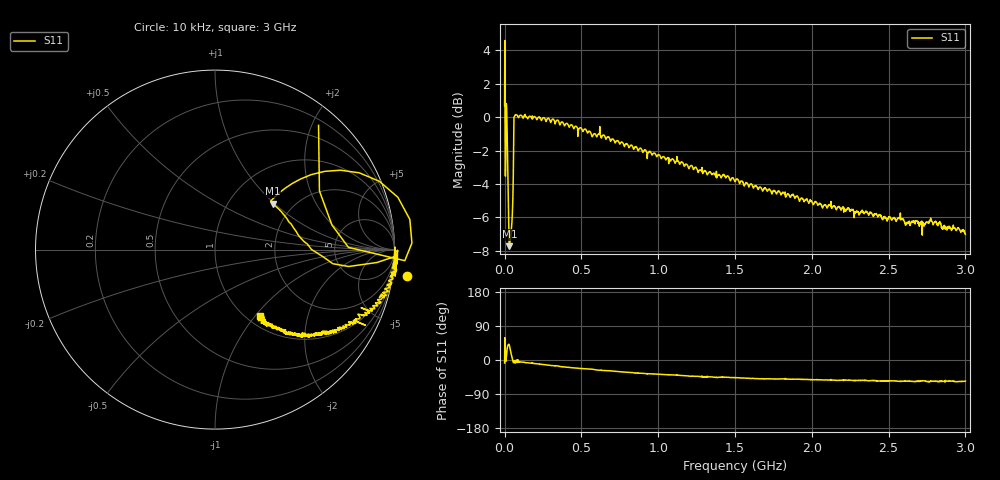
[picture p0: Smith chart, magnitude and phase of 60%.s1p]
# HZ S RI R 50
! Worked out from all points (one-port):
!   2020 points, 10 kHz to 3 GHz, reference 50 ohm
!   lowest |S11| = -7.7 dB at 31.21 MHz (marker M1), VSWR 2.39, Z = 79 + j48.6 ohm
!   |S11| at or under -10 dB: nowhere
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10000  1.071 -0.1498
5953516  0.6512 0.1377
1.635467e7  0.8038 0.4278
1.784055e7  0.6993 0.4424
1.932643e7  0.6101 0.4359
2.378406e7  0.429 0.3676
2.675582e7  0.3586 0.3166
3.121346e7  0.3211 0.2559
3.715698e7  0.3837 0.1936
4.310049e7  0.4384 0.1203
5.350164e7  0.5659 -0.0169
6.39028e7  1.004 -0.0584
7.133219e7  1.015 -0.0348
7.578983e7  1.017 -0.00326
2.4518e8  0.9678 -0.2021
3.759374e8  0.9198 -0.2977
6.107063e8  0.7953 -0.401
7.503789e8  0.7125 -0.427
1.126306e9  0.5679 -0.4777
1.375934e9  0.4649 -0.4754
1.500748e9  0.443 -0.4645
1.662709e9  0.3993 -0.4709
1.875189e9  0.3711 -0.455
2.251117e9  0.313 -0.4199
2.575038e9  0.2754 -0.4144
2.625558e9  0.271 -0.3968
2.766717e9  0.2681 -0.4107
3e9  0.2505 -0.3681
